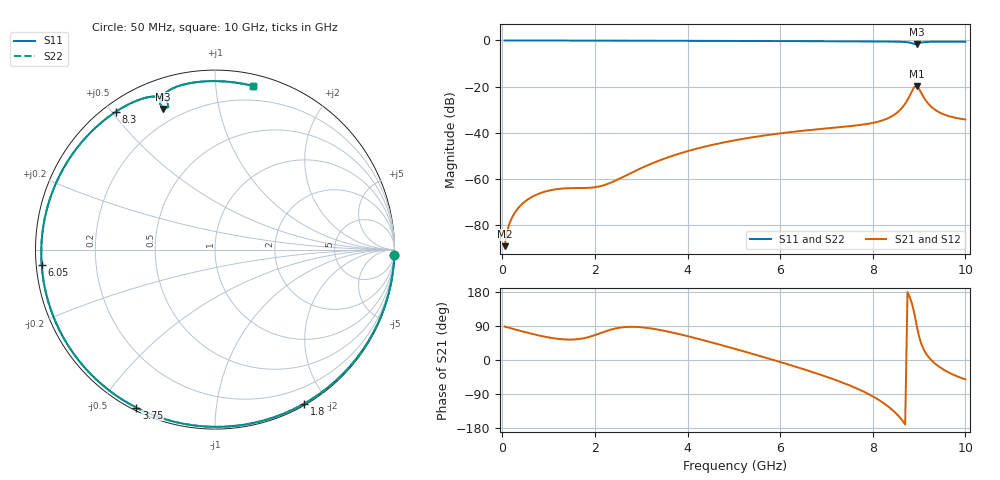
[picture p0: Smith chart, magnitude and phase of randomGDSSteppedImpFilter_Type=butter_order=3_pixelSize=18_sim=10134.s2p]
! freq	dB(S11)	phase(S11)	dB(S12)	phase(S12)
!  dB(S21)	phase(S21)	dB(S22)	phase(S22)
!S-par simulation data
#  GHz  S  DB  R 50
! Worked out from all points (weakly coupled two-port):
!   200 points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, 50 MHz to 10 GHz, reference 50 ohm
!   highest |S21| = -19.78 dB at 8.95 GHz (marker M1); lowest = -89.2 dB at 50 MHz (marker M2)
!   lowest |S11| = -1.6 dB at 8.95 GHz (marker M3), VSWR 11.16, Z = 6.63 + j34.4 ohm
!   |S11| at or under -10 dB: nowhere
!   |S22| runs from -1.6 to 0.0 dB; largest |S21 - S12| = 0
!   S11 on the Smith chart (normalised r, x): 50 MHz: 0, -66; 1.8 GHz: 0.02, -1.73; 3.75 GHz: 0.01, -0.62; 6.05 GHz: 0.02, -0.04; 8.3 GHz: 0.04, +0.51; 10 GHz: 0.09, +1.26
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0.05  -0.00 -1.7  -89.18 88.3  -89.18 88.3  -0.00 -1.7
0.15  -0.01 -5.2  -79.67 84.9  -79.67 84.9  -0.01 -5.2
0.4  -0.02 -13.7  -71.42 76.5  -71.42 76.5  -0.02 -13.8
0.7  -0.03 -23.9  -67.20 67.3  -67.20 67.3  -0.03 -23.9
1.15  -0.05 -39.0  -64.54 56.7  -64.54 56.7  -0.05 -39.0
1.75  -0.07 -58.4  -63.97 57.2  -63.97 57.2  -0.07 -58.4
1.8  -0.07 -60.0  -63.95 58.5  -63.95 58.5  -0.07 -60.0
2.3  -0.09 -75.4  -62.00 78.5  -62.00 78.5  -0.09 -75.4
3.4  -0.13 -107.0  -51.98 79.4  -51.98 79.4  -0.13 -107.0
3.75  -0.14 -116.5  -49.52 70.3  -49.52 70.3  -0.14 -116.5
5.05  -0.21 -150.0  -43.17 28.5  -43.17 28.5  -0.21 -150.0
6.05  -0.27 -174.9  -40.15 -7.1  -40.15 -7.1  -0.27 -175.0
6.7  -0.32 168.7  -38.71 -31.9  -38.71 -31.9  -0.32 168.7
7.5  -0.38 147.9  -37.16 -67.1  -37.16 -67.1  -0.38 147.8
8.3  -0.48 125.6  -33.97 -119.6  -33.97 -119.6  -0.48 125.5
8.35  -0.49 124.1  -33.52 -124.3  -33.52 -124.3  -0.49 124.0
8.65  -0.63 114.6  -28.75 -161.3  -28.75 -161.3  -0.63 114.5
8.9  -1.55 108.2  -20.12 121.1  -20.12 121.1  -1.56 108.1
8.95  -1.56 110.3  -19.78 89.7  -19.78 89.7  -1.56 110.2
9.15  -0.65 105.1  -26.17 17.1  -26.17 17.1  -0.65 105.1
9.35  -0.56 97.9  -30.12 -10.0  -30.12 -10.0  -0.56 97.9
10  -0.58 76.9  -34.26 -51.0  -34.26 -51.0  -0.58 76.8
